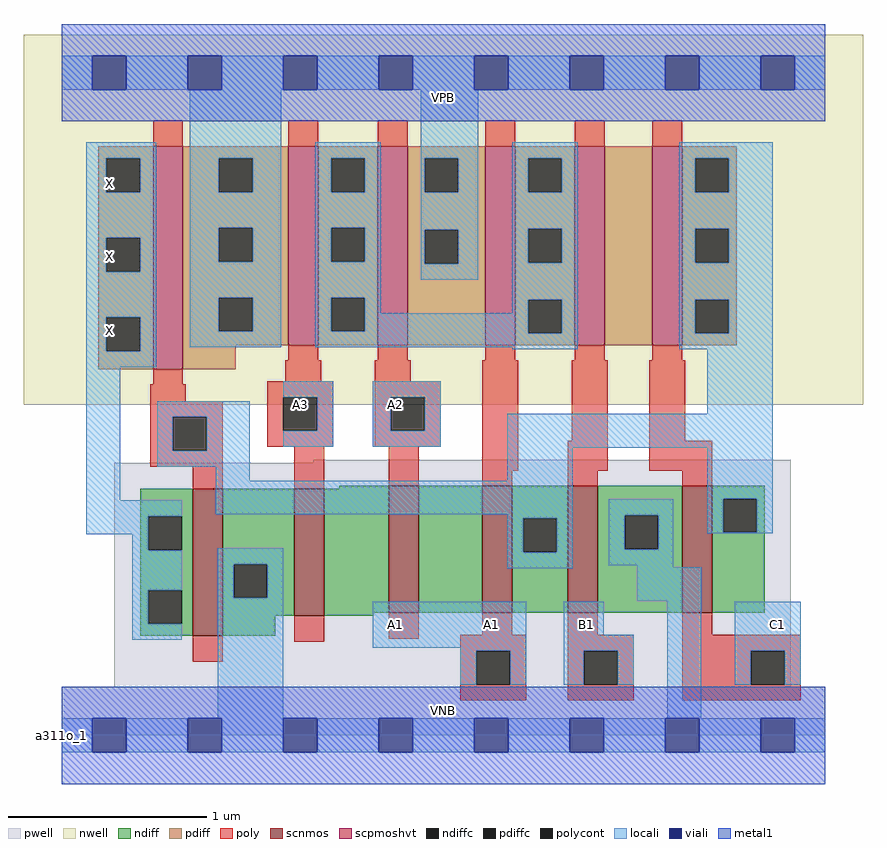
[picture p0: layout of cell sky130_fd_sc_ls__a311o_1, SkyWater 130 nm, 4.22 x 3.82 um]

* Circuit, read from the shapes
.subckt sky130_fd_sc_ls__a311o_1 A1 A2 A3 B1 C1 VGND VNB VPB VPWR X
XM1 VGND n1 X VNB sky130_fd_pr__nfet_01v8 w=0.74 l=0.15
XM2 n2 A3 VGND VNB sky130_fd_pr__nfet_01v8 w=0.64 l=0.15
XM3 n3 A2 n2 VNB sky130_fd_pr__nfet_01v8 w=0.64 l=0.15
XM4 n1 A1 n3 VNB sky130_fd_pr__nfet_01v8 w=0.64 l=0.15
XM5 VGND B1 n1 VNB sky130_fd_pr__nfet_01v8 w=0.64 l=0.15
XM6 n1 C1 VGND VNB sky130_fd_pr__nfet_01v8 w=0.64 l=0.15
XM7 VPWR n1 X VPB sky130_fd_pr__pfet_01v8_hvt w=1.12 l=0.15
XM8 n4 A3 VPWR VPB sky130_fd_pr__pfet_01v8_hvt w=1 l=0.15
XM9 VPWR A2 n4 VPB sky130_fd_pr__pfet_01v8_hvt w=1 l=0.15
XM10 n4 A1 VPWR VPB sky130_fd_pr__pfet_01v8_hvt w=1 l=0.15
XM11 n5 B1 n4 VPB sky130_fd_pr__pfet_01v8_hvt w=1 l=0.15
XM12 n1 C1 n5 VPB sky130_fd_pr__pfet_01v8_hvt w=1 l=0.15
.ends

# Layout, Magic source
magic
tech sky130A
magscale 1 2
<< nwell >>
rect -38 332 806 704
<< pwell >>
rect 253 274 733 277
rect 53 49 733 274
rect 0 0 768 49
<< scnmos >>
rect 132 100 162 248
rect 234 120 264 248
rect 329 123 359 251
rect 423 123 453 251
rect 509 123 539 251
rect 624 123 654 251
<< scpmoshvt >>
rect 92 368 122 592
rect 228 392 258 592
rect 318 392 348 592
rect 426 392 456 592
rect 516 392 546 592
rect 594 392 624 592
<< ndiff >>
rect 279 248 329 251
rect 79 220 132 248
rect 79 186 87 220
rect 121 186 132 220
rect 79 146 132 186
rect 79 112 87 146
rect 121 112 132 146
rect 79 100 132 112
rect 162 172 234 248
rect 162 138 173 172
rect 207 138 234 172
rect 162 120 234 138
rect 264 123 329 248
rect 359 123 423 251
rect 453 218 509 251
rect 453 184 464 218
rect 498 184 509 218
rect 453 123 509 184
rect 539 221 624 251
rect 539 187 566 221
rect 600 187 624 221
rect 539 123 624 187
rect 654 238 707 251
rect 654 204 665 238
rect 699 204 707 238
rect 654 123 707 204
rect 264 120 314 123
rect 162 100 215 120
<< pdiff >>
rect 37 580 92 592
rect 37 546 45 580
rect 79 546 92 580
rect 37 500 92 546
rect 37 466 45 500
rect 79 466 92 500
rect 37 420 92 466
rect 37 386 45 420
rect 79 386 92 420
rect 37 368 92 386
rect 122 580 228 592
rect 122 546 158 580
rect 192 546 228 580
rect 122 510 228 546
rect 122 476 158 510
rect 192 476 228 510
rect 122 440 228 476
rect 122 406 158 440
rect 192 406 228 440
rect 122 392 228 406
rect 258 580 318 592
rect 258 546 271 580
rect 305 546 318 580
rect 258 510 318 546
rect 258 476 271 510
rect 305 476 318 510
rect 258 440 318 476
rect 258 406 271 440
rect 305 406 318 440
rect 258 392 318 406
rect 348 580 426 592
rect 348 546 365 580
rect 399 546 426 580
rect 348 508 426 546
rect 348 474 365 508
rect 399 474 426 508
rect 348 392 426 474
rect 456 580 516 592
rect 456 546 469 580
rect 503 546 516 580
rect 456 509 516 546
rect 456 475 469 509
rect 503 475 516 509
rect 456 438 516 475
rect 456 404 469 438
rect 503 404 516 438
rect 456 392 516 404
rect 546 392 594 592
rect 624 580 679 592
rect 624 546 637 580
rect 671 546 679 580
rect 624 509 679 546
rect 624 475 637 509
rect 671 475 679 509
rect 624 438 679 475
rect 624 404 637 438
rect 671 404 679 438
rect 624 392 679 404
rect 122 368 175 392
<< ndiffc >>
rect 87 186 121 220
rect 87 112 121 146
rect 173 138 207 172
rect 464 184 498 218
rect 566 187 600 221
rect 665 204 699 238
<< pdiffc >>
rect 45 546 79 580
rect 45 466 79 500
rect 45 386 79 420
rect 158 546 192 580
rect 158 476 192 510
rect 158 406 192 440
rect 271 546 305 580
rect 271 476 305 510
rect 271 406 305 440
rect 365 546 399 580
rect 365 474 399 508
rect 469 546 503 580
rect 469 475 503 509
rect 469 404 503 438
rect 637 546 671 580
rect 637 475 671 509
rect 637 404 671 438
<< poly >>
rect 92 592 122 618
rect 228 592 258 618
rect 318 592 348 618
rect 426 592 456 618
rect 516 592 546 618
rect 594 592 624 618
rect 228 377 258 392
rect 318 377 348 392
rect 426 377 456 392
rect 516 377 546 392
rect 594 377 624 392
rect 92 353 122 368
rect 225 356 261 377
rect 315 356 351 377
rect 89 336 125 353
rect 207 340 273 356
rect 89 320 162 336
rect 89 286 112 320
rect 146 286 162 320
rect 207 306 223 340
rect 257 306 273 340
rect 207 290 273 306
rect 315 340 381 356
rect 315 306 331 340
rect 365 306 381 340
rect 315 290 381 306
rect 89 270 162 286
rect 132 248 162 270
rect 234 248 264 290
rect 329 251 359 290
rect 423 266 459 377
rect 513 296 549 377
rect 509 266 549 296
rect 591 296 627 377
rect 591 266 654 296
rect 423 251 453 266
rect 509 251 539 266
rect 624 251 654 266
rect 132 74 162 100
rect 234 94 264 120
rect 329 97 359 123
rect 423 101 453 123
rect 509 101 539 123
rect 624 101 654 123
rect 401 85 467 101
rect 401 51 417 85
rect 451 51 467 85
rect 401 35 467 51
rect 509 85 575 101
rect 509 51 525 85
rect 559 51 575 85
rect 509 35 575 51
rect 624 85 743 101
rect 624 51 693 85
rect 727 51 743 85
rect 624 35 743 51
<< polycont >>
rect 112 286 146 320
rect 223 306 257 340
rect 331 306 365 340
rect 417 51 451 85
rect 525 51 559 85
rect 693 51 727 85
<< locali >>
rect 0 649 31 683
rect 65 649 127 683
rect 161 649 223 683
rect 257 649 319 683
rect 353 649 415 683
rect 449 649 511 683
rect 545 649 607 683
rect 641 649 703 683
rect 737 649 768 683
rect 25 580 95 596
rect 25 546 45 580
rect 79 546 95 580
rect 25 500 95 546
rect 25 466 45 500
rect 79 466 95 500
rect 25 420 95 466
rect 25 386 45 420
rect 79 386 95 420
rect 129 580 221 649
rect 129 546 158 580
rect 192 546 221 580
rect 129 510 221 546
rect 129 476 158 510
rect 192 476 221 510
rect 129 440 221 476
rect 129 406 158 440
rect 192 406 221 440
rect 129 390 221 406
rect 255 580 321 596
rect 255 546 271 580
rect 305 546 321 580
rect 255 510 321 546
rect 255 476 271 510
rect 305 476 321 510
rect 255 440 321 476
rect 361 580 419 649
rect 361 546 365 580
rect 399 546 419 580
rect 361 508 419 546
rect 361 474 365 508
rect 399 474 419 508
rect 361 458 419 474
rect 453 580 519 596
rect 453 546 469 580
rect 503 546 519 580
rect 453 509 519 546
rect 453 475 469 509
rect 503 475 519 509
rect 255 406 271 440
rect 305 424 321 440
rect 453 438 519 475
rect 453 424 469 438
rect 305 406 469 424
rect 255 404 469 406
rect 503 404 519 438
rect 255 390 519 404
rect 453 388 519 390
rect 621 580 715 596
rect 621 546 637 580
rect 671 546 715 580
rect 621 509 715 546
rect 621 475 637 509
rect 671 475 715 509
rect 621 438 715 475
rect 621 404 637 438
rect 671 404 715 438
rect 621 388 715 404
rect 25 370 95 386
rect 25 236 59 370
rect 223 340 273 356
rect 96 320 189 336
rect 96 286 112 320
rect 146 286 189 320
rect 257 306 273 340
rect 223 290 273 306
rect 313 340 381 356
rect 313 306 331 340
rect 365 306 381 340
rect 649 323 715 388
rect 313 290 381 306
rect 96 270 189 286
rect 155 256 189 270
rect 448 289 715 323
rect 448 256 514 289
rect 25 220 121 236
rect 155 222 514 256
rect 649 238 715 289
rect 25 202 87 220
rect 71 186 87 202
rect 448 218 514 222
rect 71 146 121 186
rect 71 112 87 146
rect 71 96 121 112
rect 157 172 223 188
rect 157 138 173 172
rect 207 138 223 172
rect 448 184 464 218
rect 498 184 514 218
rect 448 168 514 184
rect 550 221 615 237
rect 550 187 566 221
rect 600 187 615 221
rect 649 204 665 238
rect 699 204 715 238
rect 649 203 715 204
rect 550 171 615 187
rect 579 169 615 171
rect 157 17 223 138
rect 579 135 643 169
rect 313 88 467 134
rect 401 85 467 88
rect 401 51 417 85
rect 451 51 467 85
rect 505 101 545 134
rect 505 85 575 101
rect 505 51 525 85
rect 559 51 575 85
rect 609 17 643 135
rect 677 85 743 134
rect 677 51 693 85
rect 727 51 743 85
rect 0 -17 31 17
rect 65 -17 127 17
rect 161 -17 223 17
rect 257 -17 319 17
rect 353 -17 415 17
rect 449 -17 511 17
rect 545 -17 607 17
rect 641 -17 703 17
rect 737 -17 768 17
<< viali >>
rect 31 649 65 683
rect 127 649 161 683
rect 223 649 257 683
rect 319 649 353 683
rect 415 649 449 683
rect 511 649 545 683
rect 607 649 641 683
rect 703 649 737 683
rect 31 -17 65 17
rect 127 -17 161 17
rect 223 -17 257 17
rect 319 -17 353 17
rect 415 -17 449 17
rect 511 -17 545 17
rect 607 -17 641 17
rect 703 -17 737 17
<< metal1 >>
rect 0 683 768 715
rect 0 649 31 683
rect 65 649 127 683
rect 161 649 223 683
rect 257 649 319 683
rect 353 649 415 683
rect 449 649 511 683
rect 545 649 607 683
rect 641 649 703 683
rect 737 649 768 683
rect 0 617 768 649
rect 0 17 768 49
rect 0 -17 31 17
rect 65 -17 127 17
rect 161 -17 223 17
rect 257 -17 319 17
rect 353 -17 415 17
rect 449 -17 511 17
rect 545 -17 607 17
rect 641 -17 703 17
rect 737 -17 768 17
rect 0 -49 768 -17
<< labels >>
rlabel comment s 0 0 0 0 4 a311o_1
flabel pwell s 0 0 768 49 0 FreeSans 200 0 0 0 VNB
port 7 nsew ground bidirectional
flabel nwell s 0 617 768 666 0 FreeSans 200 0 0 0 VPB
port 8 nsew power bidirectional
flabel metal1 s 0 617 768 666 0 FreeSans 340 0 0 0 VPWR
port 9 nsew power bidirectional abutment
flabel metal1 s 0 0 768 49 0 FreeSans 340 0 0 0 VGND
port 6 nsew ground bidirectional abutment
flabel locali s 31 390 65 424 0 FreeSans 340 0 0 0 X
port 10 nsew signal output
flabel locali s 31 464 65 498 0 FreeSans 340 0 0 0 X
port 10 nsew signal output
flabel locali s 31 538 65 572 0 FreeSans 340 0 0 0 X
port 10 nsew signal output
flabel locali s 703 94 737 128 0 FreeSans 340 0 0 0 C1
port 5 nsew signal input
flabel locali s 511 94 545 128 0 FreeSans 340 0 0 0 B1
port 4 nsew signal input
flabel locali s 223 316 257 350 0 FreeSans 340 0 0 0 A3
port 3 nsew signal input
flabel locali s 319 316 353 350 0 FreeSans 340 0 0 0 A2
port 2 nsew signal input
flabel locali s 319 94 353 128 0 FreeSans 340 0 0 0 A1
port 1 nsew signal input
flabel locali s 415 94 449 128 0 FreeSans 340 0 0 0 A1
port 1 nsew signal input
<< properties >>
string LEFsite unit
string LEFclass CORE
string FIXED_BBOX 0 0 768 666
string GDS_FILE $PDKPATH/libs.ref/sky130_fd_sc_ls/gds/sky130_fd_sc_ls.gds
string LEFsymmetry X Y
string GDS_END 2338770
string GDS_START 2331238
<< end >>
